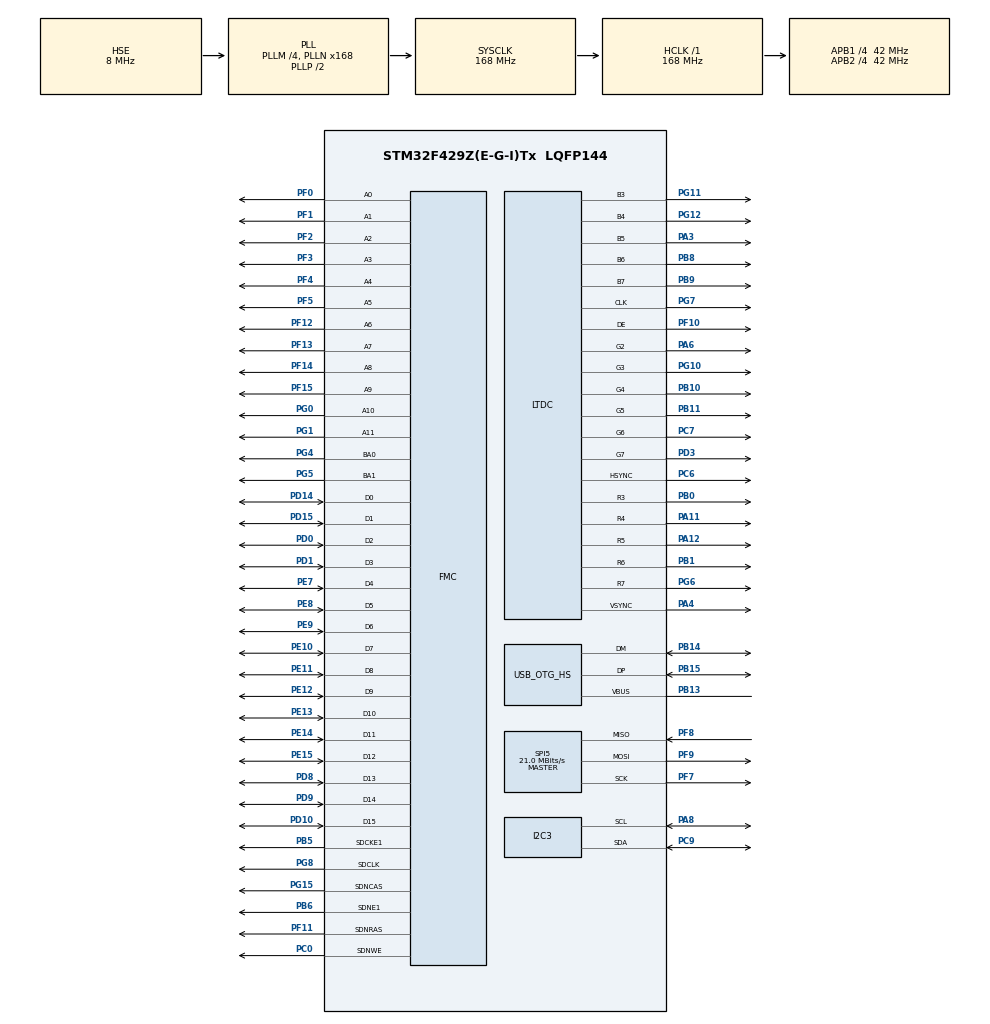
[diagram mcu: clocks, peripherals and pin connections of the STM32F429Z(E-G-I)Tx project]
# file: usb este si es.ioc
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DMA2D.ColorMode=DMA2D_OUTPUT_RGB565
FREERTOS.Tasks01=defaultTask,0,128,StartDefaultTask,Default,NULL,Dynamic,NULL,NULL;lcd,-3,2048,StartTask02,Default,NULL,Dynamic,NULL,NULL
LTDC.ActiveH=240
LTDC.ActiveW=320
Mcu.Family=STM32F4
Mcu.Name=STM32F429Z(E-G-I)Tx
Mcu.Package=LQFP144
NVIC.OTG_HS_IRQn=true\:5\:0\:false\:false\:true\:true
NVIC.PriorityGroup=NVIC_PRIORITYGROUP_4
NVIC.TIM1_UP_TIM10_IRQn=true\:0\:0\:false\:false\:true\:false
NVIC.TimeBase=TIM1_UP_TIM10_IRQn
NVIC.TimeBaseIP=TIM1
PA11.Mode=RGB565
PA11.Signal=LTDC_R4
PA12.Mode=RGB565
PA12.Signal=LTDC_R5
PA13.Mode=Serial_Wire
PA13.Signal=SYS_JTMS-SWDIO
PA14.Mode=Serial_Wire
PA14.Signal=SYS_JTCK-SWCLK
PA3.Mode=RGB565
PA3.Signal=LTDC_B5
PA4.Mode=RGB565
PA4.Signal=LTDC_VSYNC
PA6.Mode=RGB565
PA6.Signal=LTDC_G2
PA8.Mode=I2C
PA8.Signal=I2C3_SCL
PB0.Mode=RGB565
PB0.Signal=LTDC_R3
PB1.Mode=RGB565
PB1.Signal=LTDC_R6
PB10.Mode=RGB565
PB10.Signal=LTDC_G4
PB11.Mode=RGB565
PB11.Signal=LTDC_G5
PB13.Mode=Activate_VBUS_FS
PB13.Signal=USB_OTG_HS_VBUS
PB14.Mode=Host_FS
PB14.Signal=USB_OTG_HS_DM
PB15.Mode=Host_FS
PB15.Signal=USB_OTG_HS_DP
PB5.Mode=SdramChipSelect2_1
PB5.Signal=FMC_SDCKE1
PB6.Mode=SdramChipSelect2_1
PB6.Signal=FMC_SDNE1
PB8.Mode=RGB565
PB8.Signal=LTDC_B6
PB9.Mode=RGB565
PB9.Signal=LTDC_B7
PC0.Signal=FMC_SDNWE
PC6.Mode=RGB565
PC6.Signal=LTDC_HSYNC
PC7.Mode=RGB565
PC7.Signal=LTDC_G6
PC9.Mode=I2C
PC9.Signal=I2C3_SDA
PD0.Signal=FMC_D2_DA2
PD1.Signal=FMC_D3_DA3
PD10.Signal=FMC_D15_DA15
PD14.Signal=FMC_D0_DA0
PD15.Signal=FMC_D1_DA1
PD3.Mode=RGB565
PD3.Signal=LTDC_G7
PD8.Signal=FMC_D13_DA13
PD9.Signal=FMC_D14_DA14
PE10.Signal=FMC_D7_DA7
PE11.Signal=FMC_D8_DA8
PE12.Signal=FMC_D9_DA9
PE13.Signal=FMC_D10_DA10
PE14.Signal=FMC_D11_DA11
PE15.Signal=FMC_D12_DA12
PE7.Signal=FMC_D4_DA4
PE8.Signal=FMC_D5_DA5
PE9.Signal=FMC_D6_DA6
PF0.Signal=FMC_A0
PF1.Signal=FMC_A1
PF10.Mode=RGB565
PF10.Signal=LTDC_DE
PF11.Signal=FMC_SDNRAS
PF12.Signal=FMC_A6
PF13.Signal=FMC_A7
PF14.Signal=FMC_A8
PF15.Signal=FMC_A9
PF2.Signal=FMC_A2
PF3.Signal=FMC_A3
PF4.Signal=FMC_A4
PF5.Signal=FMC_A5
PF7.Mode=Full_Duplex_Master
PF7.Signal=SPI5_SCK
PF8.Mode=Full_Duplex_Master
PF8.Signal=SPI5_MISO
PF9.Mode=Full_Duplex_Master
PF9.Signal=SPI5_MOSI
PG0.Signal=FMC_A10
PG1.Signal=FMC_A11
PG10.Mode=RGB565
PG10.Signal=LTDC_G3
PG11.Mode=RGB565
PG11.Signal=LTDC_B3
PG12.Mode=RGB565
PG12.Signal=LTDC_B4
PG15.Signal=FMC_SDNCAS
PG4.Signal=FMC_A14_BA0
PG5.Signal=FMC_A15_BA1
PG6.Mode=RGB565
PG6.Signal=LTDC_R7
PG7.Mode=RGB565
PG7.Signal=LTDC_CLK
PG8.Signal=FMC_SDCLK
PH0/OSC_IN.Mode=HSE-External-Oscillator
PH0/OSC_IN.Signal=RCC_OSC_IN
PH1/OSC_OUT.Mode=HSE-External-Oscillator
PH1/OSC_OUT.Signal=RCC_OSC_OUT
ProjectManager.HeapSize=0x200
ProjectManager.StackSize=0x400
ProjectManager.TargetToolchain=SW4STM32
RCC.48MHZClocksFreq_Value=48000000
RCC.AHBFreq_Value=168000000
RCC.APB1CLKDivider=RCC_HCLK_DIV4
RCC.APB1Freq_Value=42000000
RCC.APB1TimFreq_Value=84000000
RCC.APB2CLKDivider=RCC_HCLK_DIV4
RCC.APB2Freq_Value=42000000
RCC.APB2TimFreq_Value=84000000
RCC.CortexFreq_Value=168000000
RCC.HCLKFreq_Value=168000000
RCC.HSE_VALUE=8000000
RCC.HSI_VALUE=16000000
RCC.LSE_VALUE=32768
RCC.PLLM=4
RCC.PLLN=168
RCC.PLLQ=7
RCC.PLLSAIN=50
RCC.SYSCLKFreq_VALUE=168000000
RCC.SYSCLKSource=RCC_SYSCLKSOURCE_PLLCLK
RCC.VCOOutputFreq_Value=336000000
SH.FMC_A0.0=FMC_A0,12b-sda1
SH.FMC_A1.0=FMC_A1,12b-sda1
SH.FMC_A10.0=FMC_A10,12b-sda1
SH.FMC_A11.0=FMC_A11,12b-sda1
SH.FMC_A14_BA0.0=FMC_BA0,FourSdramBanks1
SH.FMC_A15_BA1.0=FMC_BA1,FourSdramBanks1
SH.FMC_A2.0=FMC_A2,12b-sda1
SH.FMC_A3.0=FMC_A3,12b-sda1
SH.FMC_A4.0=FMC_A4,12b-sda1
SH.FMC_A5.0=FMC_A5,12b-sda1
SH.FMC_A6.0=FMC_A6,12b-sda1
SH.FMC_A7.0=FMC_A7,12b-sda1
SH.FMC_A8.0=FMC_A8,12b-sda1
SH.FMC_A9.0=FMC_A9,12b-sda1
SH.FMC_D0_DA0.0=FMC_D0,sd-16b-d1
SH.FMC_D10_DA10.0=FMC_D10,sd-16b-d1
SH.FMC_D11_DA11.0=FMC_D11,sd-16b-d1
SH.FMC_D12_DA12.0=FMC_D12,sd-16b-d1
SH.FMC_D13_DA13.0=FMC_D13,sd-16b-d1
SH.FMC_D14_DA14.0=FMC_D14,sd-16b-d1
SH.FMC_D15_DA15.0=FMC_D15,sd-16b-d1
SH.FMC_D1_DA1.0=FMC_D1,sd-16b-d1
SH.FMC_D2_DA2.0=FMC_D2,sd-16b-d1
SH.FMC_D3_DA3.0=FMC_D3,sd-16b-d1
SH.FMC_D4_DA4.0=FMC_D4,sd-16b-d1
SH.FMC_D5_DA5.0=FMC_D5,sd-16b-d1
SH.FMC_D6_DA6.0=FMC_D6,sd-16b-d1
SH.FMC_D7_DA7.0=FMC_D7,sd-16b-d1
SH.FMC_D8_DA8.0=FMC_D8,sd-16b-d1
SH.FMC_D9_DA9.0=FMC_D9,sd-16b-d1
SH.FMC_SDCLK.0=FMC_SDCLK,12b-sda1
SH.FMC_SDNCAS.0=FMC_SDNCAS,12b-sda1
SH.FMC_SDNRAS.0=FMC_SDNRAS,12b-sda1
SH.FMC_SDNWE.0=FMC_SDNWE,12b-sda1
SPI5.CalculateBaudRate=21.0 MBits/s
SPI5.Direction=SPI_DIRECTION_2LINES
SPI5.Mode=SPI_MODE_MASTER
SPI5.VirtualType=VM_MASTER
USB_HOST.USBH_DEBUG_LEVEL-MSC_HS=3
USB_HOST.USBH_HandleTypeDef-MSC_HS=hUsbHostHS
USB_HOST.VirtualModeHS=Msc
USB_OTG_HS.VirtualMode-Host_FS=Host_FS
VP_DMA2D_VS_DMA2D.Mode=DMA2D_Activate
VP_FATFS_VS_USB.Mode=USB
VP_FREERTOS_VS_ENABLE.Mode=Enabled
VP_SYS_VS_tim1.Mode=TIM1
VP_USB_HOST_VS_USB_HOST_MSC_HS.Mode=MSC_HS
board=STM32F429I-DISC1

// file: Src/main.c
/**
  ******************************************************************************
  * File Name          : main.c
  * Description        : Main program body
  ******************************************************************************
  * This notice applies to any and all portions of this file
  * that are not between comment pairs USER CODE BEGIN and
  * USER CODE END. Other portions of this file, whether
  * inserted by the user or by software development tools
  * are owned by their respective copyright owners.
  *
  * Copyright (c) 2017 STMicroelectronics International N.V.
  * All rights reserved.
  *
  * Redistribution and use in source and binary forms, with or without
  * modification, are permitted, provided that the following conditions are met:
  *
  * 1. Redistribution of source code must retain the above copyright notice,
  *    this list of conditions and the following disclaimer.
  * 2. Redistributions in binary form must reproduce the above copyright notice,
  *    this list of conditions and the following disclaimer in the documentation
  *    and/or other materials provided with the distribution.
  * 3. Neither the name of STMicroelectronics nor the names of other
  *    contributors to this software may be used to endorse or promote products
  *    derived from this software without specific written permission.
  * 4. This software, including modifications and/or derivative works of this
  *    software, must execute solely and exclusively on microcontroller or
  *    microprocessor devices manufactured by or for STMicroelectronics.
  * 5. Redistribution and use of this software other than as permitted under
  *    this license is void and will automatically terminate your rights under
  *    this license.
  *
  * THIS SOFTWARE IS PROVIDED BY STMICROELECTRONICS AND CONTRIBUTORS "AS IS"
  * AND ANY EXPRESS, IMPLIED OR STATUTORY WARRANTIES, INCLUDING, BUT NOT
  * LIMITED TO, THE IMPLIED WARRANTIES OF MERCHANTABILITY, FITNESS FOR A
  * PARTICULAR PURPOSE AND NON-INFRINGEMENT OF THIRD PARTY INTELLECTUAL PROPERTY
  * RIGHTS ARE DISCLAIMED TO THE FULLEST EXTENT PERMITTED BY LAW. IN NO EVENT
  * SHALL STMICROELECTRONICS OR CONTRIBUTORS BE LIABLE FOR ANY DIRECT, INDIRECT,
  * INCIDENTAL, SPECIAL, EXEMPLARY, OR CONSEQUENTIAL DAMAGES (INCLUDING, BUT NOT
  * LIMITED TO, PROCUREMENT OF SUBSTITUTE GOODS OR SERVICES; LOSS OF USE, DATA,
  * OR PROFITS; OR BUSINESS INTERRUPTION) HOWEVER CAUSED AND ON ANY THEORY OF
  * LIABILITY, WHETHER IN CONTRACT, STRICT LIABILITY, OR TORT (INCLUDING
  * NEGLIGENCE OR OTHERWISE) ARISING IN ANY WAY OUT OF THE USE OF THIS SOFTWARE,
  * EVEN IF ADVISED OF THE POSSIBILITY OF SUCH DAMAGE.
  *
  ******************************************************************************
  */
#include "main.h"
#include "stm32f4xx_hal.h"
#include "stm32f4xx_hal_def.h"
#include "stm32f4xx_ll_usb.h"
#include "cmsis_os.h"
#include "fatfs.h"
#include "usb_host.h"
#include "stm32f429i_discovery_lcd.h"
#include "stdlib.h"

//#include "tm_stm32f4_fatfs.h"
//#include "tm_stm32f4_usb_msc_host.h"

#include <stdio.h>

//FATFS USB_Fs;
//FIL USB_Fil;
//FRESULT fres;

char fbuf[20009]={0};

DMA2D_HandleTypeDef hdma2d;

I2C_HandleTypeDef hi2c3;

LTDC_HandleTypeDef hltdc;

SPI_HandleTypeDef hspi5;

SDRAM_HandleTypeDef hsdram1;

osThreadId defaultTaskHandle;
osThreadId lcdHandle;

/* USER CODE BEGIN PV */
/* Private variables ---------------------------------------------------------*/

/* USER CODE END PV */

void SystemClock_Config(void);
static void MX_GPIO_Init(void);
static void MX_DMA2D_Init(void);
static void MX_FMC_Init(void);
static void MX_I2C3_Init(void);
static void MX_LTDC_Init(void);
static void MX_SPI5_Init(void);
void StartDefaultTask(void const * argument);
void StartTask02(void const * argument);

/* USER CODE BEGIN PFP */

int main(void)
{

  /* MCU Configuration----------------------------------------------------------*/

  /* Reset of all peripherals, Initializes the Flash interface and the Systick. */
  HAL_Init();

  /* Configure the system clock */
  SystemClock_Config();

  /* Initialize all configured peripherals */
  MX_GPIO_Init();
  MX_DMA2D_Init();
  MX_FMC_Init();
  MX_I2C3_Init();
  MX_LTDC_Init();
  MX_SPI5_Init();

  /* Create the thread(s) */
  /* definition and creation of defaultTask */
  osThreadDef(defaultTask, StartDefaultTask, osPriorityNormal, 0, 128);
  defaultTaskHandle = osThreadCreate(osThread(defaultTask), NULL);

  /* definition and creation of lcd */
  osThreadDef(lcd, StartTask02, osPriorityIdle, 0, 2048);
  lcdHandle = osThreadCreate(osThread(lcd), NULL);

  /* Start scheduler */
  osKernelStart();

  /* We should never get here as control is now taken by the scheduler */

  /* Infinite loop */
  while (1)
  {

  }

}

/** System Clock Configuration
*/
void SystemClock_Config(void)
{

  RCC_OscInitTypeDef RCC_OscInitStruct;
  RCC_ClkInitTypeDef RCC_ClkInitStruct;
  RCC_PeriphCLKInitTypeDef PeriphClkInitStruct;

    /**Configure the main internal regulator output voltage
    */
  __HAL_RCC_PWR_CLK_ENABLE();

  __HAL_PWR_VOLTAGESCALING_CONFIG(PWR_REGULATOR_VOLTAGE_SCALE1);

    /**Initializes the CPU, AHB and APB busses clocks
    */
  RCC_OscInitStruct.OscillatorType = RCC_OSCILLATORTYPE_HSE;
  RCC_OscInitStruct.HSEState = RCC_HSE_ON;
  RCC_OscInitStruct.PLL.PLLState = RCC_PLL_ON;
  RCC_OscInitStruct.PLL.PLLSource = RCC_PLLSOURCE_HSE;
  RCC_OscInitStruct.PLL.PLLM = 4;
  RCC_OscInitStruct.PLL.PLLN = 168;
  RCC_OscInitStruct.PLL.PLLP = RCC_PLLP_DIV2;
  RCC_OscInitStruct.PLL.PLLQ = 7;
  if (HAL_RCC_OscConfig(&RCC_OscInitStruct) != HAL_OK)
  {
    _Error_Handler(__FILE__, __LINE__);
  }

    /**Initializes the CPU, AHB and APB busses clocks
    */
  RCC_ClkInitStruct.ClockType = RCC_CLOCKTYPE_HCLK|RCC_CLOCKTYPE_SYSCLK
                              |RCC_CLOCKTYPE_PCLK1|RCC_CLOCKTYPE_PCLK2;
  RCC_ClkInitStruct.SYSCLKSource = RCC_SYSCLKSOURCE_PLLCLK;
  RCC_ClkInitStruct.AHBCLKDivider = RCC_SYSCLK_DIV1;
  RCC_ClkInitStruct.APB1CLKDivider = RCC_HCLK_DIV4;
  RCC_ClkInitStruct.APB2CLKDivider = RCC_HCLK_DIV4;

  if (HAL_RCC_ClockConfig(&RCC_ClkInitStruct, FLASH_LATENCY_5) != HAL_OK)
  {
    _Error_Handler(__FILE__, __LINE__);
  }

  PeriphClkInitStruct.PeriphClockSelection = RCC_PERIPHCLK_LTDC;
  PeriphClkInitStruct.PLLSAI.PLLSAIN = 50;
  PeriphClkInitStruct.PLLSAI.PLLSAIR = 2;
  PeriphClkInitStruct.PLLSAIDivR = RCC_PLLSAIDIVR_2;
  if (HAL_RCCEx_PeriphCLKConfig(&PeriphClkInitStruct) != HAL_OK)
  {
    _Error_Handler(__FILE__, __LINE__);
  }

    /**Configure the Systick interrupt time
    */
  HAL_SYSTICK_Config(HAL_RCC_GetHCLKFreq()/1000);

    /**Configure the Systick
    */
  HAL_SYSTICK_CLKSourceConfig(SYSTICK_CLKSOURCE_HCLK);

  /* SysTick_IRQn interrupt configuration */
  HAL_NVIC_SetPriority(SysTick_IRQn, 15, 0);
}

/* DMA2D init function */
static void MX_DMA2D_Init(void)
{

  hdma2d.Instance = DMA2D;
  hdma2d.Init.Mode = DMA2D_M2M;
  hdma2d.Init.ColorMode = DMA2D_OUTPUT_RGB565;
  hdma2d.Init.OutputOffset = 0;
  hdma2d.LayerCfg[1].InputOffset = 0;
  hdma2d.LayerCfg[1].InputColorMode = DMA2D_INPUT_RGB565;
  hdma2d.LayerCfg[1].AlphaMode = DMA2D_NO_MODIF_ALPHA;
  hdma2d.LayerCfg[1].InputAlpha = 0;
  if (HAL_DMA2D_Init(&hdma2d) != HAL_OK)
  {
    _Error_Handler(__FILE__, __LINE__);
  }

  if (HAL_DMA2D_ConfigLayer(&hdma2d, 1) != HAL_OK)
  {
    _Error_Handler(__FILE__, __LINE__);
  }

}

/* I2C3 init function */
static void MX_I2C3_Init(void)
{

  hi2c3.Instance = I2C3;
  hi2c3.Init.ClockSpeed = 100000;
  hi2c3.Init.DutyCycle = I2C_DUTYCYCLE_2;
  hi2c3.Init.OwnAddress1 = 0;
  hi2c3.Init.AddressingMode = I2C_ADDRESSINGMODE_7BIT;
  hi2c3.Init.DualAddressMode = I2C_DUALADDRESS_DISABLE;
  hi2c3.Init.OwnAddress2 = 0;
  hi2c3.Init.GeneralCallMode = I2C_GENERALCALL_DISABLE;
  hi2c3.Init.NoStretchMode = I2C_NOSTRETCH_DISABLE;
  if (HAL_I2C_Init(&hi2c3) != HAL_OK)
  {
    _Error_Handler(__FILE__, __LINE__);
  }

}

/* LTDC init function */
static void MX_LTDC_Init(void)
{

  LTDC_LayerCfgTypeDef pLayerCfg;
  LTDC_LayerCfgTypeDef pLayerCfg1;

  hltdc.Instance = LTDC;
  hltdc.Init.HSPolarity = LTDC_HSPOLARITY_AL;
  hltdc.Init.VSPolarity = LTDC_VSPOLARITY_AL;
  hltdc.Init.DEPolarity = LTDC_DEPOLARITY_AL;
  hltdc.Init.PCPolarity = LTDC_PCPOLARITY_IPC;
  hltdc.Init.HorizontalSync = 7;
  hltdc.Init.VerticalSync = 3;
  hltdc.Init.AccumulatedHBP = 14;
  hltdc.Init.AccumulatedVBP = 5;
  hltdc.Init.AccumulatedActiveW = 334;
  hltdc.Init.AccumulatedActiveH = 245;
  hltdc.Init.TotalWidth = 340;
  hltdc.Init.TotalHeigh = 247;
  hltdc.Init.Backcolor.Blue = 0;
  hltdc.Init.Backcolor.Green = 0;
  hltdc.Init.Backcolor.Red = 0;
  if (HAL_LTDC_Init(&hltdc) != HAL_OK)
  {
    _Error_Handler(__FILE__, __LINE__);
  }

  pLayerCfg.WindowX0 = 0;
  pLayerCfg.WindowX1 = 0;
  pLayerCfg.WindowY0 = 0;
  pLayerCfg.WindowY1 = 0;
  pLayerCfg.PixelFormat = LTDC_PIXEL_FORMAT_ARGB8888;
  pLayerCfg.Alpha = 0;
  pLayerCfg.Alpha0 = 0;
  pLayerCfg.BlendingFactor1 = LTDC_BLENDING_FACTOR1_CA;
  pLayerCfg.BlendingFactor2 = LTDC_BLENDING_FACTOR2_CA;
  pLayerCfg.FBStartAdress = 0;
  pLayerCfg.ImageWidth = 0;
  pLayerCfg.ImageHeight = 0;
  pLayerCfg.Backcolor.Blue = 0;
  pLayerCfg.Backcolor.Green = 0;
  pLayerCfg.Backcolor.Red = 0;
  if (HAL_LTDC_ConfigLayer(&hltdc, &pLayerCfg, 0) != HAL_OK)
  {
    _Error_Handler(__FILE__, __LINE__);
  }

  pLayerCfg1.WindowX0 = 0;
  pLayerCfg1.WindowX1 = 0;
  pLayerCfg1.WindowY0 = 0;
  pLayerCfg1.WindowY1 = 0;
  pLayerCfg1.PixelFormat = LTDC_PIXEL_FORMAT_ARGB8888;
  pLayerCfg1.Alpha = 0;
  pLayerCfg1.Alpha0 = 0;
  pLayerCfg1.BlendingFactor1 = LTDC_BLENDING_FACTOR1_CA;
  pLayerCfg1.BlendingFactor2 = LTDC_BLENDING_FACTOR2_CA;
  pLayerCfg1.FBStartAdress = 0;
  pLayerCfg1.ImageWidth = 0;
  pLayerCfg1.ImageHeight = 0;
  pLayerCfg1.Backcolor.Blue = 0;
  pLayerCfg1.Backcolor.Green = 0;
  pLayerCfg1.Backcolor.Red = 0;
  if (HAL_LTDC_ConfigLayer(&hltdc, &pLayerCfg1, 1) != HAL_OK)
  {
    _Error_Handler(__FILE__, __LINE__);
  }

}

/* SPI5 init function */
static void MX_SPI5_Init(void)
{

  hspi5.Instance = SPI5;
  hspi5.Init.Mode = SPI_MODE_MASTER;
  hspi5.Init.Direction = SPI_DIRECTION_2LINES;
  hspi5.Init.DataSize = SPI_DATASIZE_8BIT;
  hspi5.Init.CLKPolarity = SPI_POLARITY_LOW;
  hspi5.Init.CLKPhase = SPI_PHASE_1EDGE;
  hspi5.Init.NSS = SPI_NSS_SOFT;
  hspi5.Init.BaudRatePrescaler = SPI_BAUDRATEPRESCALER_2;
  hspi5.Init.FirstBit = SPI_FIRSTBIT_MSB;
  hspi5.Init.TIMode = SPI_TIMODE_DISABLE;
  hspi5.Init.CRCCalculation = SPI_CRCCALCULATION_DISABLE;
  hspi5.Init.CRCPolynomial = 10;
  if (HAL_SPI_Init(&hspi5) != HAL_OK)
  {
    _Error_Handler(__FILE__, __LINE__);
  }

}
/* FMC initialization function */
static void MX_FMC_Init(void)
{
  FMC_SDRAM_TimingTypeDef SdramTiming;

  /** Perform the SDRAM1 memory initialization sequence
  */
  hsdram1.Instance = FMC_SDRAM_DEVICE;
  /* hsdram1.Init */
  hsdram1.Init.SDBank = FMC_SDRAM_BANK2;
  hsdram1.Init.ColumnBitsNumber = FMC_SDRAM_COLUMN_BITS_NUM_8;
  hsdram1.Init.RowBitsNumber = FMC_SDRAM_ROW_BITS_NUM_12;
  hsdram1.Init.MemoryDataWidth = FMC_SDRAM_MEM_BUS_WIDTH_16;
  hsdram1.Init.InternalBankNumber = FMC_SDRAM_INTERN_BANKS_NUM_4;
  hsdram1.Init.CASLatency = FMC_SDRAM_CAS_LATENCY_1;
  hsdram1.Init.WriteProtection = FMC_SDRAM_WRITE_PROTECTION_DISABLE;
  hsdram1.Init.SDClockPeriod = FMC_SDRAM_CLOCK_DISABLE;
  hsdram1.Init.ReadBurst = FMC_SDRAM_RBURST_DISABLE;
  hsdram1.Init.ReadPipeDelay = FMC_SDRAM_RPIPE_DELAY_0;
  /* SdramTiming */
  SdramTiming.LoadToActiveDelay = 16;
  SdramTiming.ExitSelfRefreshDelay = 16;
  SdramTiming.SelfRefreshTime = 16;
  SdramTiming.RowCycleDelay = 16;
  SdramTiming.WriteRecoveryTime = 16;
  SdramTiming.RPDelay = 16;
  SdramTiming.RCDDelay = 16;

  if (HAL_SDRAM_Init(&hsdram1, &SdramTiming) != HAL_OK)
  {
    _Error_Handler(__FILE__, __LINE__);
  }

}

/** Configure pins as
        * Analog
        * Input
        * Output
        * EVENT_OUT
        * EXTI
*/
static void MX_GPIO_Init(void)
{

  /* GPIO Ports Clock Enable */
  __HAL_RCC_GPIOF_CLK_ENABLE();
  __HAL_RCC_GPIOH_CLK_ENABLE();
  __HAL_RCC_GPIOC_CLK_ENABLE();
  __HAL_RCC_GPIOA_CLK_ENABLE();
  __HAL_RCC_GPIOB_CLK_ENABLE();
  __HAL_RCC_GPIOG_CLK_ENABLE();
  __HAL_RCC_GPIOE_CLK_ENABLE();
  __HAL_RCC_GPIOD_CLK_ENABLE();

}

/* StartDefaultTask function */
void StartDefaultTask(void const * argument)
{
  /* init code for USB_HOST */
  MX_USB_HOST_Init();
  static FILE *f;
  /* init code for FATFS */
  MX_FATFS_Init();

  	while (1) {

  	}
}

/* StartTask02 function */
void StartTask02(void const * argument)
{
  BSP_LCD_Init();
  BSP_LCD_LayerDefaultInit(LCD_BACKGROUND_LAYER, LCD_FRAME_BUFFER);
  BSP_LCD_LayerDefaultInit(LCD_FOREGROUND_LAYER, LCD_FRAME_BUFFER);
  BSP_LCD_SelectLayer(LCD_FOREGROUND_LAYER);
  BSP_LCD_DisplayOn();
  BSP_LCD_Clear(LCD_COLOR_WHITE);
  /* USER CODE BEGIN StartTask02 */
  /* Infinite loop */
  for(;;)
  {
	  BSP_LCD_SetTextColor(LCD_COLOR_DARKGREEN);
	  BSP_LCD_DisplayStringAtLine(1,(uint8_t*)"HOLA MUNDO 1");
	  HAL_Delay(1000);
	  BSP_LCD_SetTextColor(LCD_COLOR_DARKBLUE);
	  BSP_LCD_DisplayStringAtLine(2,(uint8_t*)"HOLA MUNDO 2");
	  HAL_Delay(1000);
	  BSP_LCD_SetTextColor(LCD_COLOR_BLACK);
	  BSP_LCD_DisplayStringAtLine(3,(uint8_t*)"HOLA MUNDO 3");
	  HAL_Delay(1000);
	  BSP_LCD_SetTextColor(LCD_COLOR_DARKYELLOW);
	  BSP_LCD_DisplayStringAtLine(4,(uint8_t*)"HOLA MUNDO 4");
	  HAL_Delay(1000);
	  BSP_LCD_SetTextColor(LCD_COLOR_DARKMAGENTA);
	  BSP_LCD_DisplayStringAtLine(5,(uint8_t*)"HOLA MUNDO 5");
	  HAL_Delay(1000);
	  BSP_LCD_Clear(LCD_COLOR_WHITE);

    osDelay(1000);
  }
  /* USER CODE END StartTask02 */
}

void HAL_TIM_PeriodElapsedCallback(TIM_HandleTypeDef *htim)
{
  if (htim->Instance == TIM1) {
    HAL_IncTick();
  }
}

void _Error_Handler(char * file, int line)
{
  while(1)
  {
  }
}

/************************ (C) COPYRIGHT STMicroelectronics *****END OF FILE****/
